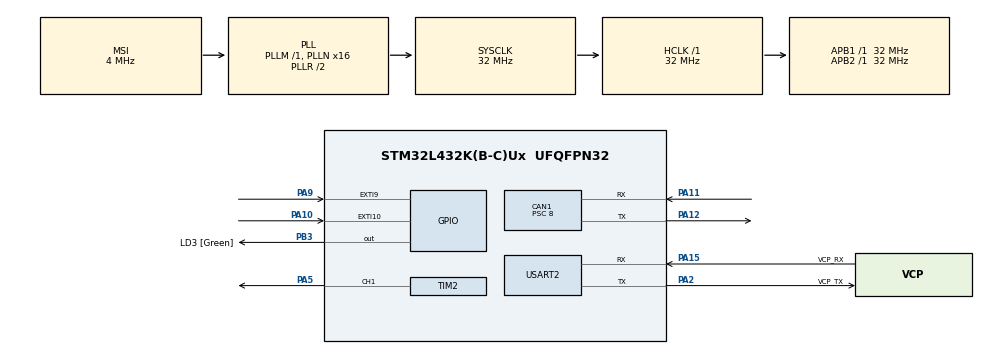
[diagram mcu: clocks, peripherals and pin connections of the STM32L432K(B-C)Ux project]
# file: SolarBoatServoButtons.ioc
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CAN1.BS1=CAN_BS1_7TQ
CAN1.BS2=CAN_BS2_8TQ
CAN1.CalculateBaudRate=250000
CAN1.CalculateTimeBit=4000
CAN1.CalculateTimeQuantum=250.0
CAN1.Prescaler=8
Mcu.Family=STM32L4
Mcu.Name=STM32L432K(B-C)Ux
Mcu.Package=UFQFPN32
NVIC.EXTI15_10_IRQn=true\:0\:0\:false\:false\:true\:true\:true\:true
NVIC.EXTI9_5_IRQn=true\:0\:0\:false\:false\:true\:true\:true\:true
NVIC.PriorityGroup=NVIC_PRIORITYGROUP_4
NVIC.TIM2_IRQn=true\:0\:0\:false\:false\:true\:true\:true\:true
PA0.GPIO_Label=MCO [High speed clock in]
PA0.Mode=HSE-External-Clock-Source-for-LittleOrca
PA0.Signal=RCC_CK_IN
PA10.GPIO_ModeDefaultEXTI=GPIO_MODE_IT_RISING
PA10.GPIO_PuPd=GPIO_NOPULL
PA10.Signal=GPXTI10
PA11.Mode=CAN_Activate
PA11.Signal=CAN1_RX
PA12.Mode=CAN_Activate
PA12.Signal=CAN1_TX
PA13\ (JTMS-SWDIO).GPIO_Label=SWDIO
PA13\ (JTMS-SWDIO).Mode=Serial_Wire
PA13\ (JTMS-SWDIO).Signal=SYS_JTMS-SWDIO
PA14\ (JTCK-SWCLK).GPIO_Label=SWCLK
PA14\ (JTCK-SWCLK).Mode=Serial_Wire
PA14\ (JTCK-SWCLK).Signal=SYS_JTCK-SWCLK
PA15\ (JTDI).GPIO_Label=VCP_RX
PA15\ (JTDI).Mode=Asynchronous
PA15\ (JTDI).Signal=USART2_RX
PA2.GPIO_Label=VCP_TX
PA2.Mode=Asynchronous
PA2.Signal=USART2_TX
PA5.Signal=S_TIM2_CH1
PA9.GPIO_PuPd=GPIO_NOPULL
PA9.Signal=GPXTI9
PB3\ (JTDO-TRACESWO).GPIO_Label=LD3 [Green]
PB3\ (JTDO-TRACESWO).GPIO_PuPd=GPIO_NOPULL
PB3\ (JTDO-TRACESWO).Signal=GPIO_Output
PC14-OSC32_IN\ (PC14).Mode=LSE-External-Oscillator
PC14-OSC32_IN\ (PC14).Signal=RCC_OSC32_IN
PC15-OSC32_OUT\ (PC15).Mode=LSE-External-Oscillator
PC15-OSC32_OUT\ (PC15).Signal=RCC_OSC32_OUT
ProjectManager.HeapSize=0x200
ProjectManager.StackSize=0x400
ProjectManager.TargetToolchain=STM32CubeIDE
RCC.AHBFreq_Value=32000000
RCC.APB1Freq_Value=32000000
RCC.APB1TimFreq_Value=32000000
RCC.APB2Freq_Value=32000000
RCC.APB2TimFreq_Value=32000000
RCC.CortexFreq_Value=32000000
RCC.HCLKFreq_Value=32000000
RCC.HSE_VALUE=8000000
RCC.HSI16_VALUE=16000000
RCC.HSI48_VALUE=48000000
RCC.HSI_VALUE=16000000
RCC.MSI_VALUE=4000000
RCC.PLLMUL=RCC_PLLMUL_4
RCC.PLLN=16
RCC.SYSCLKFreq_VALUE=32000000
RCC.SYSCLKSource=RCC_SYSCLKSOURCE_PLLCLK
RCC.VCOOutputFreq_Value=64000000
SH.S_TIM2_CH1.0=TIM2_CH1,Forced Output1 CH1
TIM2.Channel-Forced\ Output1\ CH1=TIM_CHANNEL_1
TIM2.Period=10
TIM2.Prescaler=32000 - 1
USART2.VirtualMode-Asynchronous=VM_ASYNC
VP_TIM2_VS_ClockSourceINT.Mode=Internal
board=NUCLEO-L432KC

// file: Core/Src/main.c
/* USER CODE BEGIN Header */
/**
  ******************************************************************************
  * @file           : main.c
  * @brief          : Main program body
  ******************************************************************************
  * @attention
  *
  * Copyright (c) 2023 STMicroelectronics.
  * All rights reserved.
  *
  * This software is licensed under terms that can be found in the LICENSE file
  * in the root directory of this software component.
  * If no LICENSE file comes with this software, it is provided AS-IS.
  *
  ******************************************************************************
  */
/* USER CODE END Header */
#include "main.h"
#include "can.h"
#include "tim.h"
#include "usart.h"
#include "gpio.h"

/* USER CODE BEGIN PD */
#define maxState 	12
#define minState	0

/* USER CODE END PD */

/* USER CODE BEGIN PV */
char 					uart_buf[50];
int 					uart_buf_len;
int						state;
/* USER CODE END PV */

void SystemClock_Config(void);
/* USER CODE BEGIN PFP */

void SendState(void);

/* USER CODE END PFP */

int main(void)
{

  /* MCU Configuration--------------------------------------------------------*/

  /* Reset of all peripherals, Initializes the Flash interface and the Systick. */
  HAL_Init();

  /* Configure the system clock */
  SystemClock_Config();

  /* USER CODE BEGIN SysInit */

  SysTick_Config(SystemCoreClock / 1000);

  /* USER CODE END SysInit */

  /* Initialize all configured peripherals */
  MX_GPIO_Init();
  MX_CAN1_Init();
  MX_USART2_UART_Init();
  MX_TIM2_Init();
  /* USER CODE BEGIN 2 */

  CAN_TX_filter_init();
  counter = 0;
  state = 8;
  SendState();

  HAL_TIM_Base_Start_IT(&htim2);

  /* USER CODE END 2 */

  /* Infinite loop */
  while (1)
  {

  }
}

void SystemClock_Config(void)
{
  RCC_OscInitTypeDef RCC_OscInitStruct = {0};
  RCC_ClkInitTypeDef RCC_ClkInitStruct = {0};

  /** Configure the main internal regulator output voltage
  */
  if (HAL_PWREx_ControlVoltageScaling(PWR_REGULATOR_VOLTAGE_SCALE1) != HAL_OK)
  {
    Error_Handler();
  }

  /** Configure LSE Drive Capability
  */
  HAL_PWR_EnableBkUpAccess();
  __HAL_RCC_LSEDRIVE_CONFIG(RCC_LSEDRIVE_LOW);

  /** Initializes the RCC Oscillators according to the specified parameters
  * in the RCC_OscInitTypeDef structure.
  */
  RCC_OscInitStruct.OscillatorType = RCC_OSCILLATORTYPE_LSE|RCC_OSCILLATORTYPE_MSI;
  RCC_OscInitStruct.LSEState = RCC_LSE_ON;
  RCC_OscInitStruct.MSIState = RCC_MSI_ON;
  RCC_OscInitStruct.MSICalibrationValue = 0;
  RCC_OscInitStruct.MSIClockRange = RCC_MSIRANGE_6;
  RCC_OscInitStruct.PLL.PLLState = RCC_PLL_ON;
  RCC_OscInitStruct.PLL.PLLSource = RCC_PLLSOURCE_MSI;
  RCC_OscInitStruct.PLL.PLLM = 1;
  RCC_OscInitStruct.PLL.PLLN = 16;
  RCC_OscInitStruct.PLL.PLLP = RCC_PLLP_DIV7;
  RCC_OscInitStruct.PLL.PLLQ = RCC_PLLQ_DIV2;
  RCC_OscInitStruct.PLL.PLLR = RCC_PLLR_DIV2;
  if (HAL_RCC_OscConfig(&RCC_OscInitStruct) != HAL_OK)
  {
    Error_Handler();
  }

  /** Initializes the CPU, AHB and APB buses clocks
  */
  RCC_ClkInitStruct.ClockType = RCC_CLOCKTYPE_HCLK|RCC_CLOCKTYPE_SYSCLK
                              |RCC_CLOCKTYPE_PCLK1|RCC_CLOCKTYPE_PCLK2;
  RCC_ClkInitStruct.SYSCLKSource = RCC_SYSCLKSOURCE_PLLCLK;
  RCC_ClkInitStruct.AHBCLKDivider = RCC_SYSCLK_DIV1;
  RCC_ClkInitStruct.APB1CLKDivider = RCC_HCLK_DIV1;
  RCC_ClkInitStruct.APB2CLKDivider = RCC_HCLK_DIV1;

  if (HAL_RCC_ClockConfig(&RCC_ClkInitStruct, FLASH_LATENCY_1) != HAL_OK)
  {
    Error_Handler();
  }

  /** Enable MSI Auto calibration
  */
  HAL_RCCEx_EnableMSIPLLMode();
}

/* USER CODE BEGIN 4 */
void SendState(void)
{
	TxData[0] = (state & 0xFF00) >> 8;
	TxData[1] = state & 0x00FF;
	TxData[2] = 0;
	TxData[3] = 0;
	TxData[4] = 0;
	TxData[5] = 0;
	TxData[6] = 0;
	TxData[7] = 0;

	if (HAL_CAN_AddTxMessage(&hcan1, &TxHeader, (uint8_t*)TxData, &TxMailbox) != HAL_OK)
	{
	  uint32_t error = HAL_CAN_GetError(&hcan1);
	  Error_Handler ();
	}
}

void HAL_TIM_PeriodElapsedCallback(TIM_HandleTypeDef *htim)
{
	SendState();
}

void HAL_GPIO_EXTI_Callback(uint16_t GPIO_Pin)
{
	if(GPIO_Pin == GPIO_PIN_9)
	{
		if(state > minState)
		{
			state = state - 1;
		}
	}
	else if(GPIO_Pin == GPIO_PIN_10) {
		if(state < maxState)
		{
			state = state + 1;
		}
	} else {
		__NOP();
	}
	uart_buf_len = sprintf(uart_buf, "state : %lu\n", state);
	HAL_UART_Transmit(&huart2, (uint8_t *)uart_buf, uart_buf_len, 100);
	SendState();
}
/* USER CODE END 4 */

void Error_Handler(void)
{
  __disable_irq();
  while (1)
  {
  }
}
